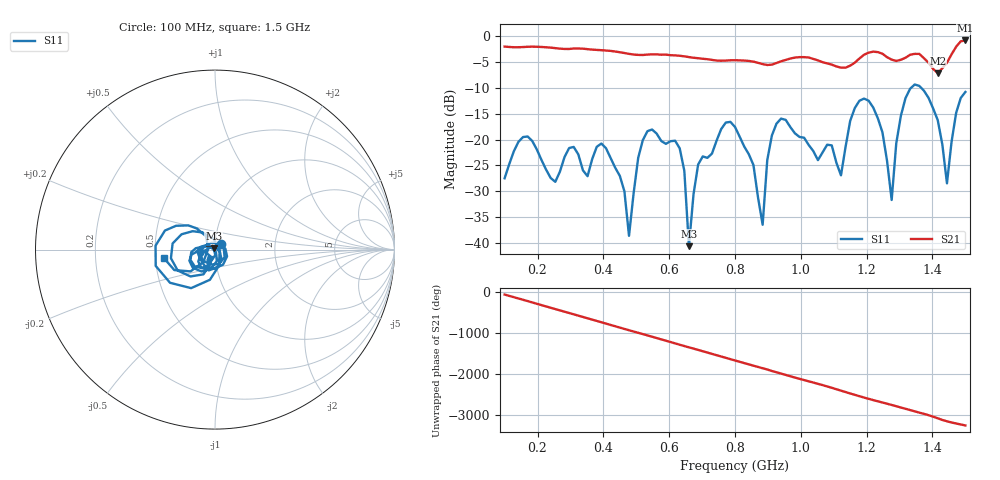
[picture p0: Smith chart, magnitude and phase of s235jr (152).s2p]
! NanoVNA-App
! Date: 2025-09-25 15:05:21
! Start: 100MHz Stop: 1,5GHz Points: 101
! S-Parameter data: F S11 S21 S12 S22
# Hz S RI R 50
!  Frequency  S11_Real  S11_Imag  S21_Real  S21_Imag  S12_Real  S12_Imag  S22_Real  S22_Imag
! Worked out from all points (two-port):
!   101 points, 100 MHz to 1.5 GHz, reference 50 ohm
!   highest |S21| = -0.77 dB at 1.5 GHz (marker M1); lowest = -7.1 dB at 1.416 GHz (marker M2)
!   |S21| within 3 dB of the highest: start of sweep to 636 MHz; 1.188 GHz to 1.257 GHz (69.33 MHz wide, 5.67 % of centre) (the widest 2 of 4)
!   lowest |S11| = -40.6 dB at 660 MHz (marker M3), VSWR 1.02, Z = 49.3 + j0.612 ohm
!   |S11| at or under -10 dB: start of sweep to 1.334 GHz; 1.366 GHz to end of sweep
!   S12 and S22 are empty: the file has one direction only
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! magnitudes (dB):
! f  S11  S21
! 100 MHz  -27.5  -2.0
! 170 MHz  -19.4  -2.0
! 338 MHz  -25.9  -2.4
! 408 MHz  -21.6  -2.7
! 478 MHz  -38.6  -3.4
! 520 MHz  -20.1  -3.6
! 576 MHz  -20.3  -3.5
! 632 MHz  -21.7  -3.7
! 660 MHz  -40.6  -4.0
! 688 MHz  -24.8  -4.2
! 800 MHz  -17.5  -4.6
! 884 MHz  -36.5  -5.4
! 898 MHz  -24.0  -5.5
! 926 MHz  -16.9  -5.1
! 1.038 GHz  -22.2  -4.4
! 1.122 GHz  -26.9  -6.0
! 1.206 GHz  -12.4  -3.1
! 1.276 GHz  -31.7  -4.5
! 1.332 GHz  -10.1  -3.5
! 1.416 GHz  -16.2  -7.1
! 1.444 GHz  -28.5  -5.1
! 1.5 GHz  -10.8  -0.8
